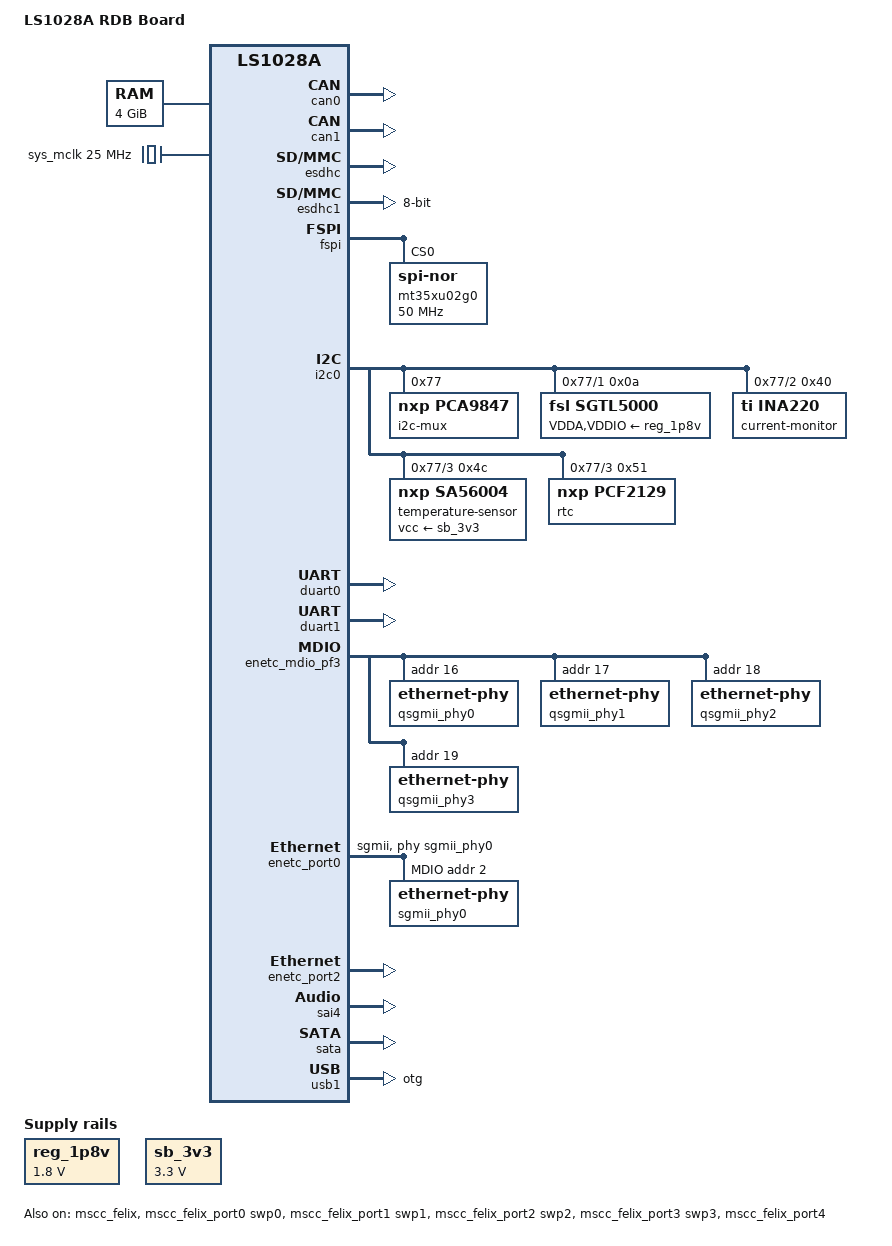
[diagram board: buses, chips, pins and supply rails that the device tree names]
// SPDX-License-Identifier: (GPL-2.0+ OR MIT)
/*
 * Device Tree file for NXP LS1028A RDB Board.
 *
 * Copyright 2018 NXP
 *
 * Harninder Rai <harninder.rai@nxp.com>
 *
 */

/dts-v1/;
#include "fsl-ls1028a.dtsi"

/ {
	model = "LS1028A RDB Board";
	compatible = "fsl,ls1028a-rdb", "fsl,ls1028a";

	aliases {
		crypto = &crypto;
		serial0 = &duart0;
		serial1 = &duart1;
		mmc0 = &esdhc;
		mmc1 = &esdhc1;
	};

	chosen {
		stdout-path = "serial0:115200n8";
	};

	memory@80000000 {
		device_type = "memory";
		reg = <0x0 0x80000000 0x1 0x0000000>;
	};

	sys_mclk: clock-mclk {
		compatible = "fixed-clock";
		#clock-cells = <0>;
		clock-frequency = <25000000>;
	};

	reg_1p8v: regulator-1p8v {
		compatible = "regulator-fixed";
		regulator-name = "1P8V";
		regulator-min-microvolt = <1800000>;
		regulator-max-microvolt = <1800000>;
		regulator-always-on;
	};

	sb_3v3: regulator-sb3v3 {
		compatible = "regulator-fixed";
		regulator-name = "3v3_vbus";
		regulator-min-microvolt = <3300000>;
		regulator-max-microvolt = <3300000>;
		regulator-boot-on;
		regulator-always-on;
	};

	sound {
		compatible = "simple-audio-card";
		simple-audio-card,format = "i2s";
		simple-audio-card,widgets =
			"Microphone", "Microphone Jack",
			"Headphone", "Headphone Jack",
			"Speaker", "Speaker Ext",
			"Line", "Line In Jack";
		simple-audio-card,routing =
			"MIC_IN", "Microphone Jack",
			"Microphone Jack", "Mic Bias",
			"LINE_IN", "Line In Jack",
			"Headphone Jack", "HP_OUT",
			"Speaker Ext", "LINE_OUT";

		simple-audio-card,cpu {
			sound-dai = <&sai4>;
			frame-master;
			bitclock-master;
		};

		simple-audio-card,codec {
			sound-dai = <&sgtl5000>;
			frame-master;
			bitclock-master;
			system-clock-frequency = <25000000>;
		};
	};
};

&can0 {
	status = "okay";

	can-transceiver {
		max-bitrate = <5000000>;
	};
};

&can1 {
	status = "okay";

	can-transceiver {
		max-bitrate = <5000000>;
	};
};

&esdhc {
	sd-uhs-sdr104;
	sd-uhs-sdr50;
	sd-uhs-sdr25;
	sd-uhs-sdr12;
	status = "okay";
};

&esdhc1 {
	mmc-hs200-1_8v;
	mmc-hs400-1_8v;
	bus-width = <8>;
	status = "okay";
};

&fspi {
	status = "okay";

	mt35xu02g0: flash@0 {
		compatible = "jedec,spi-nor";
		#address-cells = <1>;
		#size-cells = <1>;
		spi-max-frequency = <50000000>;
		/* The following setting enables 1-1-8 (CMD-ADDR-DATA) mode */
		spi-rx-bus-width = <8>; /* 8 SPI Rx lines */
		spi-tx-bus-width = <1>; /* 1 SPI Tx line */
		reg = <0>;
	};
};

&i2c0 {
	status = "okay";

	i2c-mux@77 {
		compatible = "nxp,pca9847";
		reg = <0x77>;
		#address-cells = <1>;
		#size-cells = <0>;

		i2c@1 {
			#address-cells = <1>;
			#size-cells = <0>;
			reg = <0x1>;

			sgtl5000: audio-codec@a {
				#sound-dai-cells = <0>;
				compatible = "fsl,sgtl5000";
				reg = <0xa>;
				VDDA-supply = <&reg_1p8v>;
				VDDIO-supply = <&reg_1p8v>;
				clocks = <&sys_mclk>;
				sclk-strength = <3>;
			};
		};

		i2c@2 {
			#address-cells = <1>;
			#size-cells = <0>;
			reg = <0x02>;

			current-monitor@40 {
				compatible = "ti,ina220";
				reg = <0x40>;
				shunt-resistor = <500>;
			};
		};

		i2c@3 {
			#address-cells = <1>;
			#size-cells = <0>;
			reg = <0x3>;

			temperature-sensor@4c {
				compatible = "nxp,sa56004";
				reg = <0x4c>;
				vcc-supply = <&sb_3v3>;
			};

			rtc@51 {
				compatible = "nxp,pcf2129";
				reg = <0x51>;
			};
		};
	};
};

&duart0 {
	status = "okay";
};

&duart1 {
	status = "okay";
};

&enetc_mdio_pf3 {
	/* VSC8514 QSGMII quad PHY */
	qsgmii_phy0: ethernet-phy@10 {
		reg = <0x10>;
	};

	qsgmii_phy1: ethernet-phy@11 {
		reg = <0x11>;
	};

	qsgmii_phy2: ethernet-phy@12 {
		reg = <0x12>;
	};

	qsgmii_phy3: ethernet-phy@13 {
		reg = <0x13>;
	};
};

&enetc_port0 {
	phy-handle = <&sgmii_phy0>;
	phy-connection-type = "sgmii";
	managed = "in-band-status";
	status = "okay";

	mdio {
		#address-cells = <1>;
		#size-cells = <0>;
		sgmii_phy0: ethernet-phy@2 {
			reg = <0x2>;
		};
	};
};

&enetc_port2 {
	status = "okay";
};

&mscc_felix {
	status = "okay";
};

&mscc_felix_port0 {
	label = "swp0";
	managed = "in-band-status";
	phy-handle = <&qsgmii_phy0>;
	phy-mode = "qsgmii";
	status = "okay";
};

&mscc_felix_port1 {
	label = "swp1";
	managed = "in-band-status";
	phy-handle = <&qsgmii_phy1>;
	phy-mode = "qsgmii";
	status = "okay";
};

&mscc_felix_port2 {
	label = "swp2";
	managed = "in-band-status";
	phy-handle = <&qsgmii_phy2>;
	phy-mode = "qsgmii";
	status = "okay";
};

&mscc_felix_port3 {
	label = "swp3";
	managed = "in-band-status";
	phy-handle = <&qsgmii_phy3>;
	phy-mode = "qsgmii";
	status = "okay";
};

&mscc_felix_port4 {
	ethernet = <&enetc_port2>;
	status = "okay";
};

&sai4 {
	status = "okay";
};

&sata {
	status = "okay";
};

&usb1 {
	dr_mode = "otg";
};
